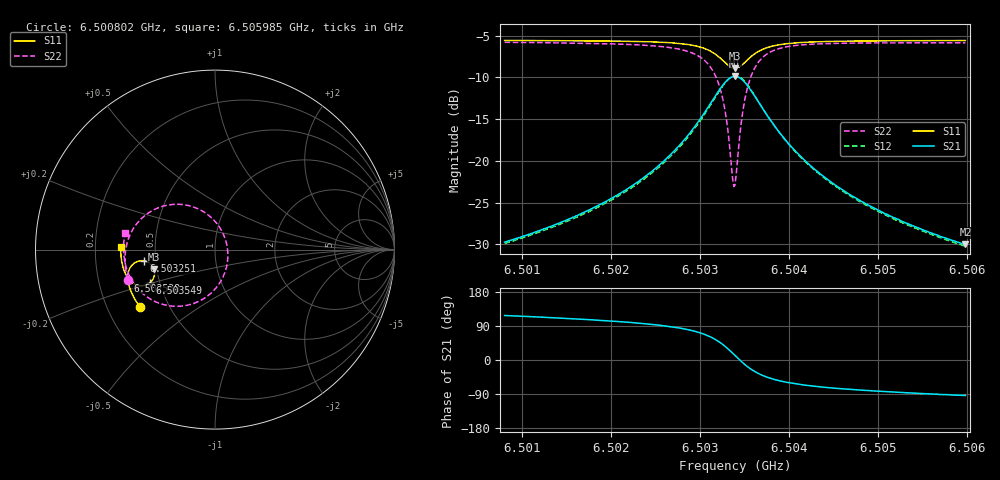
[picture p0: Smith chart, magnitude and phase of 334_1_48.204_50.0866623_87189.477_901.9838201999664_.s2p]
#  HZ  S  RI  R  50.00
! Rohde & Schwarz Vector Network Analyzer
! Rohde-Schwarz,ZNB20-2Port,1311601062101988,3.16
! Created: UTC 3/20/2024, 11:51:00 AM
! freq[Hz]  re:S11  im:S11  re:S21  im:S21  re:S12  im:S12  re:S22  im:S22
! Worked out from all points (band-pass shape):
!   401 points, 6.500802 GHz to 6.505985 GHz, reference 50 ohm
!   highest |S21| = -9.87 dB at 6.503393 GHz (marker M1); lowest = -30.0 dB at 6.505985 GHz (marker M2)
!   |S21| within 3 dB of the highest: 6.503134 GHz to 6.503652 GHz (518.8 kHz wide, 0.00798 % of centre)
!   lowest |S11| = -8.9 dB at 6.503393 GHz (marker M3), VSWR 2.11, Z = 24.1 - j6.12 ohm
!   |S11| at or under -10 dB: nowhere
!   |S22| runs from -23.1 to -5.8 dB; largest |S21 - S12| = 0.011
!   S11 on the Smith chart (normalised r, x): 6.500802 GHz: 0.34, -0.30; 6.502538 GHz: 0.33, -0.15; 6.503251 GHz: 0.43, -0.06; 6.503549 GHz: 0.44, -0.20; 6.505985 GHz: 0.31, +0.01
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6.5008019e9  -0.4195 -0.3184  -0.015 0.0289  -0.0134 0.029  -0.4853 -0.1674
6.50167e9  -0.4578 -0.2554  -0.0146 0.0462  -0.0122 0.0458  -0.501 -0.0776
6.5021623e9  -0.4756 -0.2127  -0.0117 0.0656  -0.00867 0.0647  -0.4989 -0.00934
6.5025381e9  -0.485 -0.1719  -0.00332 0.0938  0.000271 0.0917  -0.4815 0.0634
6.5028361e9  -0.4835 -0.1287  0.0203 0.1346  0.024 0.1306  -0.4322 0.1488
6.5030304e9  -0.4667 -0.0916  0.0664 0.1753  0.0691 0.1694  -0.3431 0.2208
6.50316e9  -0.4353 -0.0672  0.1347 0.1976  0.1359 0.1913  -0.2191 0.2527
6.5032507e9  -0.3975 -0.0621  0.2097 0.1879  0.2101 0.1825  -0.0889 0.2246
6.5033025e9  -0.3724 -0.0707  0.2573 0.1603  0.2582 0.1557  -0.00986 0.1681
6.5033673e9  -0.3463 -0.0963  0.3042 0.0981  0.3066 0.093  0.0604 0.0483
6.5033932e9  -0.3401 -0.1106  0.3142 0.0666  0.3172 0.0606  0.071 -0.0101
6.5034062e9  -0.3383 -0.1181  0.3169 0.0501  0.32 0.0438  0.0717 -0.0402
6.503458e9  -0.3392 -0.1483  0.3114 -0.0139  0.314 -0.0227  0.0441 -0.1541
6.5034839e9  -0.3442 -0.162  0.3004 -0.0423  0.3021 -0.0521  0.0153 -0.2016
6.5035487e9  -0.3648 -0.187  0.2585 -0.0953  0.2574 -0.1061  -0.0788 -0.2824
6.5036523e9  -0.4036 -0.2019  0.1859 -0.1309  0.1806 -0.1399  -0.2248 -0.3157
6.5038208e9  -0.4487 -0.192  0.1062 -0.1283  0.0995 -0.133  -0.3683 -0.2705
6.5040022e9  -0.4757 -0.1707  0.0627 -0.1088  0.0566 -0.1109  -0.439 -0.207
6.5042613e9  -0.4963 -0.1407  0.0334 -0.0853  0.0287 -0.0857  -0.4814 -0.1361
6.50465e9  -0.5117 -0.1008  0.0147 -0.0627  0.0114 -0.0625  -0.5036 -0.0618
6.5051294e9  -0.5212 -0.057  0.00495 -0.0466  0.00264 -0.046  -0.5096 0.0038
6.5059845e9  -0.5258 0.0148  -0.002 -0.0314  -0.00337 -0.0306  -0.5014 0.0924
